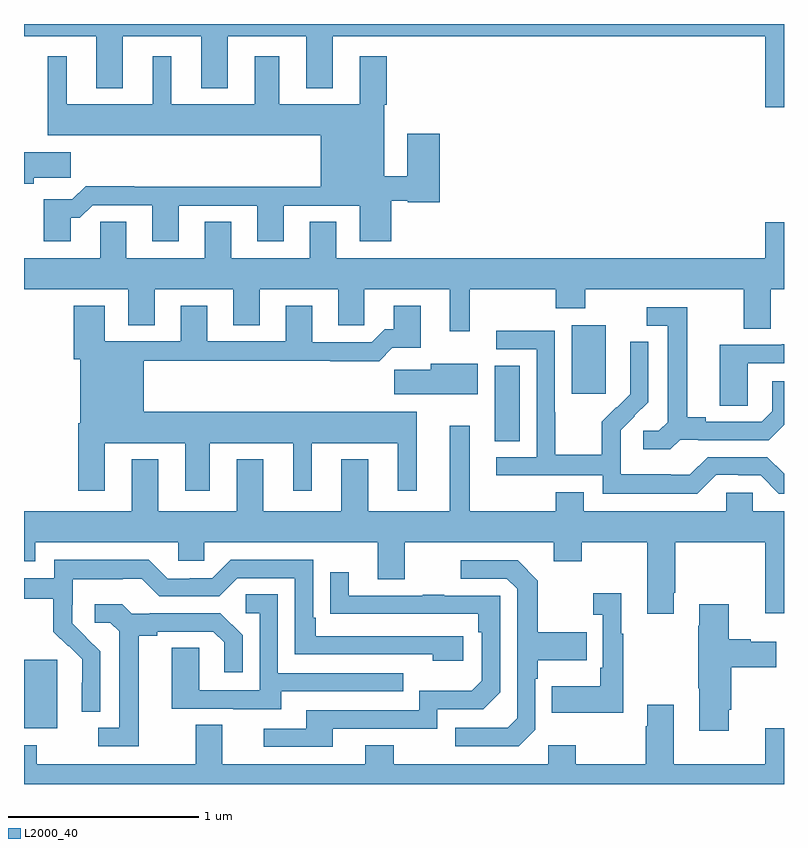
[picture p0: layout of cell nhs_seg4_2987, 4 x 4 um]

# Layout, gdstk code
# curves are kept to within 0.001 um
import gdstk
lib = gdstk.Library(unit=1e-6, precision=1e-09)
def R(c, l, rs):  # rectangles x0, y0, x1, y1
    for r in rs: c.add(gdstk.rectangle(r[:2], r[2:], *l))
def P(c, l, *ps):  # polygons
    for p in ps: c.add(gdstk.Polygon(p, *l))
L2000_40 = (2000, 40)

nhs_seg4_2987 = lib.new_cell('nhs_seg4_2987')
R(nhs_seg4_2987, L2000_40, [(269,777.194,269.176,777.555), (271.478,778.705,271.609,779.102), (271.883,778.953,272.062,779.314)])
P(nhs_seg4_2987, L2000_40, [(273,780.9),(269,780.9),(269,780.836),(269.381,780.836),(269.381,780.563),(269.521,780.563),(269.521,780.836),(269.933,780.836),(269.933,780.563),(270.073,780.563),(270.073,780.836),(270.485,780.836),(270.485,780.563),(270.625,780.563),(270.625,780.836),(272.9,780.836),(272.9,780.462),(273,780.462)],
  [(269.245,779.879),(269.294,779.879),(269.361,779.946),(269.675,779.946),(269.675,779.757),(269.815,779.757),(269.815,779.943),(270.227,779.943),(270.227,779.757),(270.367,779.757),(270.367,779.943),(270.767,779.943),(270.767,779.757),(270.932,779.757),(270.932,779.97),(271.02,779.97),(271.02,779.962),(271.187,779.962),(271.187,780.322),(271.016,780.322),(271.016,780.098),(270.895,780.098),(270.895,780.474),(270.908,780.474),(270.908,780.73),(270.767,780.73),(270.767,780.478),(270.343,780.478),(270.343,780.73),(270.215,780.73),(270.215,780.478),(269.776,780.478),(269.776,780.73),(269.678,780.73),(269.678,780.478),(269.224,780.478),(269.224,780.73),(269.126,780.73),(269.126,780.314),(270.563,780.314),(270.563,780.044),(269.579,780.044),(269.579,780.047),(269.324,780.047),(269.254,779.977),(269.105,779.977),(269.105,779.757),(269.245,779.757)],
  [(269.05,780.091),(269.245,780.091),(269.245,780.226),(269,780.226),(269,780.059),(269.05,780.059)],
  [(271.345,779.504),(271.798,779.504),(271.798,779.405),(271.953,779.405),(271.953,779.504),(272.789,779.504),(272.789,779.296),(272.929,779.296),(272.929,779.504),(273,779.504),(273,779.857),(272.9,779.857),(272.9,779.668),(270.643,779.668),(270.643,779.858),(270.503,779.858),(270.503,779.668),(270.091,779.668),(270.091,779.858),(269.951,779.858),(269.951,779.668),(269.539,779.668),(269.539,779.858),(269.4,779.858),(269.4,779.668),(269,779.668),(269,779.504),(269.549,779.504),(269.549,779.314),(269.689,779.314),(269.689,779.504),(270.101,779.504),(270.101,779.314),(270.241,779.314),(270.241,779.504),(270.653,779.504),(270.653,779.314),(270.792,779.314),(270.792,779.504),(271.241,779.504),(271.241,779.283),(271.345,779.283)],
  [(269.425,778.694),(269.849,778.694),(269.849,778.443),(269.977,778.443),(269.977,778.694),(270.416,778.694),(270.416,778.443),(270.514,778.443),(270.514,778.694),(270.968,778.694),(270.968,778.443),(271.066,778.443),(271.066,778.858),(269.629,778.858),(269.629,779.128),(270.613,779.128),(270.613,779.126),(270.869,779.126),(270.938,779.195),(271.087,779.195),(271.087,779.416),(270.947,779.416),(270.947,779.293),(270.898,779.293),(270.831,779.226),(270.517,779.226),(270.517,779.416),(270.377,779.416),(270.377,779.229),(269.965,779.229),(269.965,779.416),(269.825,779.416),(269.825,779.229),(269.425,779.229),(269.425,779.416),(269.261,779.416),(269.261,779.136),(269.297,779.136),(269.297,778.798),(269.285,778.798),(269.285,778.443),(269.425,778.443)],
  [(272.454,778.713),(272.548,778.713),(272.548,778.71),(272.92,778.71),(273,778.79),(273,779.02),(272.939,779.02),(272.939,778.863),(272.882,778.806),(272.587,778.806),(272.587,778.829),(272.491,778.829),(272.491,779.409),(272.277,779.409),(272.277,779.313),(272.387,779.313),(272.387,778.805),(272.34,778.758),(272.259,778.758),(272.259,778.661),(272.402,778.661)],
  [(272.643,778.527),(272.759,778.527),(272.759,778.524),(272.877,778.524),(272.973,778.428),(273,778.428),(273,778.533),(272.913,778.62),(272.598,778.62),(272.505,778.527),(272.405,778.527),(272.405,778.531),(272.142,778.531),(272.142,778.665),(272.14,778.665),(272.14,778.762),(272.286,778.91),(272.286,779.228),(272.19,779.228),(272.19,779.074),(272.192,779.074),(272.192,778.952),(272.121,778.881),(272.118,778.884),(272.041,778.807),(272.041,778.633),(271.797,778.633),(271.797,778.856),(271.794,778.856),(271.794,779.286),(271.485,779.286),(271.485,779.187),(271.698,779.187),(271.698,778.62),(271.485,778.62),(271.485,778.524),(272.046,778.524),(272.046,778.427),(272.543,778.427)],
  [(272.808,779.115),(273,779.115),(273,779.215),(272.987,779.215),(272.987,779.211),(272.663,779.211),(272.663,778.891),(272.808,778.891)],
  [(271.387,779.113),(271.142,779.113),(271.142,779.081),(270.948,779.081),(270.948,778.952),(271.387,778.952)],
  [(272.419,777.907),(272.427,777.907),(272.427,778.172),(272.9,778.172),(272.9,777.798),(273,777.798),(273,778.336),(272.835,778.336),(272.835,778.434),(272.697,778.434),(272.697,778.336),(271.945,778.336),(271.945,778.435),(271.798,778.435),(271.798,778.336),(271.345,778.336),(271.345,778.786),(271.241,778.786),(271.241,778.336),(270.811,778.336),(270.811,778.609),(270.671,778.609),(270.671,778.336),(270.259,778.336),(270.259,778.609),(270.119,778.609),(270.119,778.336),(269.707,778.336),(269.707,778.609),(269.567,778.609),(269.567,778.336),(269,778.336),(269,778.073),(269.059,778.073),(269.059,778.172),(269.811,778.172),(269.811,778.074),(269.949,778.074),(269.949,778.172),(270.863,778.172),(270.863,777.978),(271.003,777.978),(271.003,778.172),(271.787,778.172),(271.787,778.073),(271.935,778.073),(271.935,778.172),(272.279,778.172),(272.279,777.795),(272.419,777.795)],
  [(269.4,777.598),(269.254,777.746),(269.254,777.843),(269.256,777.843),(269.256,777.977),(269.519,777.977),(269.519,777.981),(269.619,777.981),(269.712,777.888),(270.027,777.888),(270.123,777.984),(270.426,777.984),(270.426,777.582),(271.151,777.582),(271.151,777.548),(271.312,777.548),(271.312,777.678),(270.535,777.678),(270.535,777.775),(270.522,777.775),(270.522,778.08),(270.087,778.08),(269.991,777.984),(269.873,777.984),(269.873,777.981),(269.757,777.981),(269.657,778.081),(269.16,778.081),(269.16,777.984),(269,777.984),(269,777.876),(269.155,777.876),(269.155,777.701),(269.232,777.624),(269.235,777.627),(269.306,777.557),(269.306,777.434),(269.304,777.434),(269.304,777.28),(269.4,777.28)],
  [(271.692,777.186),(271.692,777.455),(271.705,777.455),(271.705,777.551),(271.961,777.551),(271.961,777.699),(271.705,777.699),(271.705,777.971),(271.599,778.077),(271.299,778.077),(271.299,777.981),(271.542,777.981),(271.596,777.927),(271.596,777.246),(271.545,777.195),(271.269,777.195),(271.269,777.099),(271.605,777.099)],
  [(270.625,777.192),(271.176,777.192),(271.176,777.294),(271.416,777.294),(271.506,777.384),(271.506,777.891),(271.211,777.891),(271.211,777.896),(271.099,777.896),(271.099,777.891),(270.709,777.891),(270.709,778.015),(270.613,778.015),(270.613,777.796),(271.39,777.795),(271.39,777.698),(271.41,777.698),(271.41,777.444),(271.357,777.391),(271.08,777.391),(271.08,777.288),(270.485,777.288),(270.485,777.192),(270.261,777.192),(270.261,777.096),(270.625,777.096)],
  [(272.155,777.691),(272.143,777.691),(272.143,777.904),(271.995,777.904),(271.995,777.791),(272.046,777.791),(272.046,777.511),(272.034,777.511),(272.034,777.415),(271.777,777.415),(271.777,777.275),(272.155,777.275)],
  [(270.355,777.387),(270.995,777.387),(270.995,777.483),(270.336,777.483),(270.336,777.899),(270.168,777.899),(270.168,777.798),(270.24,777.798),(270.24,777.393),(269.922,777.393),(269.922,777.617),(269.777,777.617),(269.777,777.297),(270.101,777.297),(270.101,777.293),(270.355,777.293)],
  [(269.605,777.68),(269.701,777.68),(269.701,777.702),(269.996,777.702),(270.053,777.645),(270.053,777.489),(270.15,777.489),(270.15,777.682),(270.034,777.798),(269.662,777.798),(269.662,777.795),(269.568,777.795),(269.516,777.847),(269.373,777.847),(269.373,777.75),(269.454,777.75),(269.501,777.703),(269.501,777.195),(269.391,777.195),(269.391,777.099),(269.605,777.099)],
  [(272.71,777.292),(272.723,777.292),(272.723,777.515),(272.959,777.515),(272.959,777.649),(272.826,777.649),(272.826,777.662),(272.71,777.662),(272.71,777.847),(272.555,777.847),(272.555,777.734),(272.548,777.734),(272.548,777.403),(272.555,777.403),(272.555,777.18),(272.71,777.18)],
  [(273,777.193),(272.9,777.193),(272.9,777.004),(272.419,777.004),(272.419,777.316),(272.279,777.316),(272.279,777.203),(272.272,777.203),(272.272,777.004),(271.905,777.004),(271.905,777.103),(271.758,777.103),(271.758,777.004),(270.945,777.004),(270.945,777.103),(270.797,777.103),(270.797,777.004),(270.043,777.004),(270.043,777.212),(269.903,777.212),(269.903,777.004),(269.067,777.004),(269.067,777.103),(269,777.103),(269,776.9),(273,776.9)])

lib.write_gds('nhs_seg4_2987.gds')
